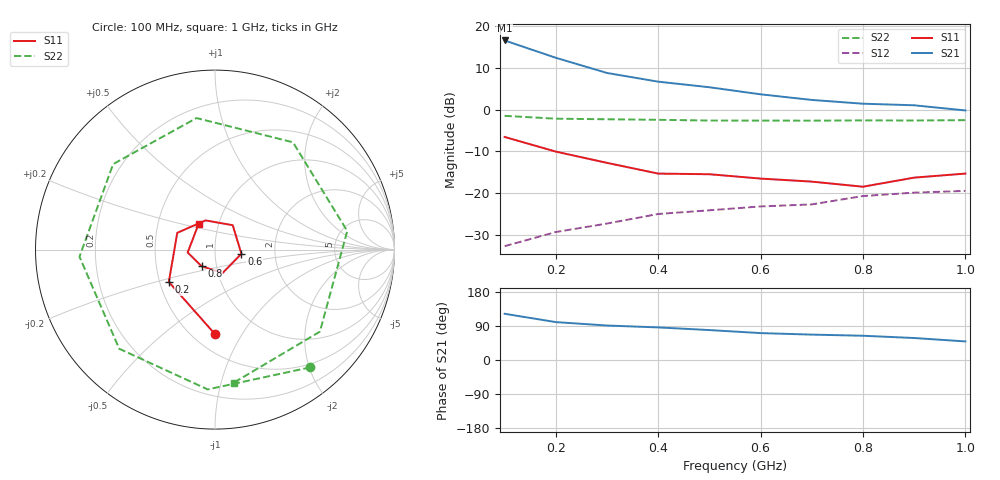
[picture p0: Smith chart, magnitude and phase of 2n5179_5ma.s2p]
! 2n5179
! Common Emitter S-Parameters, @ VCE = 6 V, IC = 5 mA
# mhz s ma r 50
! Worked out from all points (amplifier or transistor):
!   10 points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, 100 MHz to 1 GHz, reference 50 ohm
!   highest |S21| = 16.6 dB at 100 MHz (marker M1)
!   |S21| within 3 dB of that: start of sweep to 172.1 MHz
!   unconditionally stable (mu >= 1): 183.9 MHz to end of sweep
!   at 200 MHz: K = 1.11, MAG = 18.9 dB, |S12| = -29.4 dB
!   at 600 MHz: K = 2.07, MAG = 7.6 dB, |S12| = -23.2 dB
!   at 1 GHz: K = 2.08, MAG = 3.7 dB, |S12| = -19.5 dB
!   S11 on the Smith chart (normalised r, x): 100 MHz: 0.64, -0.77; 200 MHz: 0.56, -0.22; 600 MHz: 1.34, -0.06; 800 MHz: 0.85, -0.16; 1 GHz: 0.80, +0.24
100  0.471 -90.0  6.78 122.0  0.023 64.0  0.844 -51.0
200  0.314 -145.0  4.2 100.0  0.034 58.0  0.78 -93.0
300  0.23 156.0  2.76 91.0  0.043 65.0  0.768 -134.0
400  0.171 108.0  2.17 86.0  0.056 63.0  0.756 -177.0
500  0.168 54.0  1.86 79.0  0.062 62.0  0.741 140.0
600  0.149 -9.0  1.53 71.0  0.069 66.0  0.74 98.0
700  0.137 -72.0  1.31 67.0  0.073 71.0  0.739 54.0
800  0.119 -129.0  1.18 64.0  0.092 74.0  0.744 8.0
900  0.153 -174.0  1.13 58.0  0.101 68.0  0.742 -38.0
1000  0.171 122.0  0.979 49.0  0.106 71.0  0.749 -82.0
